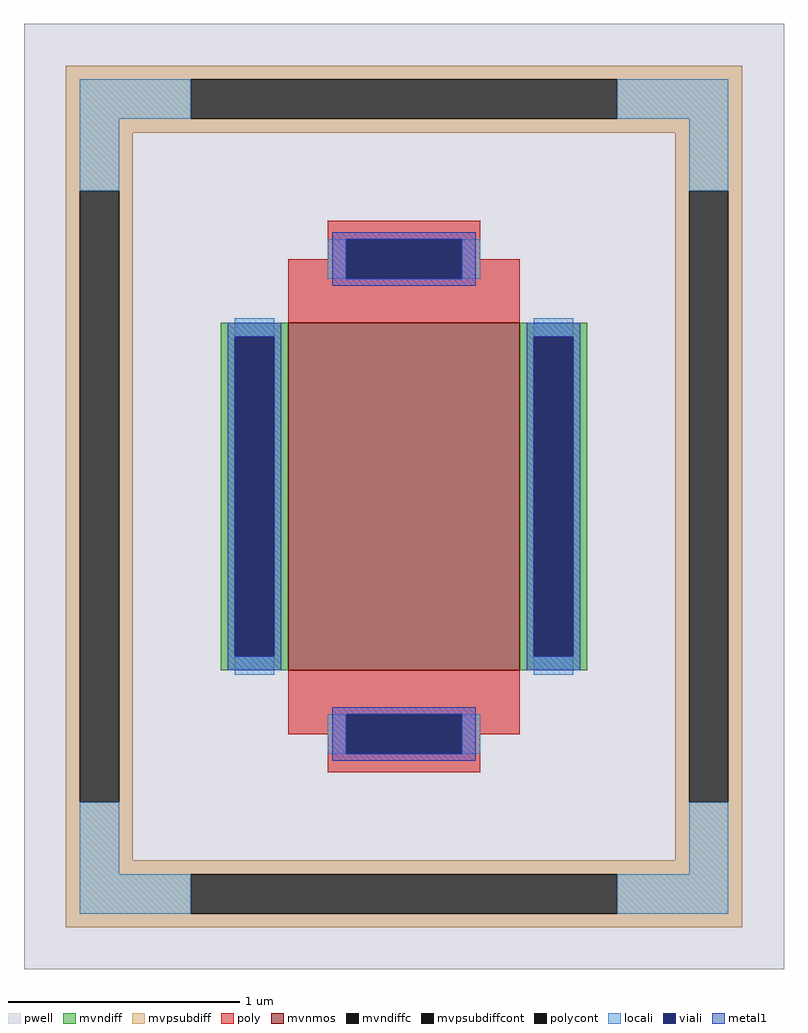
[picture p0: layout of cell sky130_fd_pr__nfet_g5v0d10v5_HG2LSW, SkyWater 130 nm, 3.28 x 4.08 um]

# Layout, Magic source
magic
tech sky130A
magscale 1 2
<< pwell >>
rect -328 -408 328 408
<< mvnmos >>
rect -100 -150 100 150
<< mvndiff >>
rect -158 138 -100 150
rect -158 -138 -146 138
rect -112 -138 -100 138
rect -158 -150 -100 -138
rect 100 138 158 150
rect 100 -138 112 138
rect 146 -138 158 138
rect 100 -150 158 -138
<< mvndiffc >>
rect -146 -138 -112 138
rect 112 -138 146 138
<< mvpsubdiff >>
rect -292 360 292 372
rect -292 326 -184 360
rect 184 326 292 360
rect -292 314 292 326
rect -292 264 -234 314
rect -292 -264 -280 264
rect -246 -264 -234 264
rect 234 264 292 314
rect -292 -314 -234 -264
rect 234 -264 246 264
rect 280 -264 292 264
rect 234 -314 292 -264
rect -292 -326 292 -314
rect -292 -360 -184 -326
rect 184 -360 292 -326
rect -292 -372 292 -360
<< mvpsubdiffcont >>
rect -184 326 184 360
rect -280 -264 -246 264
rect 246 -264 280 264
rect -184 -360 184 -326
<< poly >>
rect -66 222 66 238
rect -66 205 -50 222
rect -100 188 -50 205
rect 50 205 66 222
rect 50 188 100 205
rect -100 150 100 188
rect -100 -188 100 -150
rect -100 -205 -50 -188
rect -66 -222 -50 -205
rect 50 -205 100 -188
rect 50 -222 66 -205
rect -66 -238 66 -222
<< polycont >>
rect -50 188 50 222
rect -50 -222 50 -188
<< locali >>
rect -280 326 -184 360
rect 184 326 280 360
rect -280 264 -246 326
rect 246 264 280 326
rect -66 188 -50 222
rect 50 188 66 222
rect -146 138 -112 154
rect -146 -154 -112 -138
rect 112 138 146 154
rect 112 -154 146 -138
rect -66 -222 -50 -188
rect 50 -222 66 -188
rect -280 -326 -246 -264
rect 246 -326 280 -264
rect -280 -360 -184 -326
rect 184 -360 280 -326
<< viali >>
rect -50 188 50 222
rect -146 -138 -112 138
rect 112 -138 146 138
rect -50 -222 50 -188
<< metal1 >>
rect -62 222 62 228
rect -62 188 -50 222
rect 50 188 62 222
rect -62 182 62 188
rect -152 138 -106 150
rect -152 -138 -146 138
rect -112 -138 -106 138
rect -152 -150 -106 -138
rect 106 138 152 150
rect 106 -138 112 138
rect 146 -138 152 138
rect 106 -150 152 -138
rect -62 -188 62 -182
rect -62 -222 -50 -188
rect 50 -222 62 -188
rect -62 -228 62 -222
<< properties >>
string FIXED_BBOX -263 -343 263 343
string gencell sky130_fd_pr__nfet_g5v0d10v5
string library sky130
string parameters w 1.5 l 1 m 1 nf 1 diffcov 100 polycov 60 guard 1 glc 1 grc 1 gtc 1 gbc 1 tbcov 100 rlcov 100 topc 1 botc 1 poverlap 0 doverlap 1 lmin 0.50 wmin 0.42 compatible {sky130_fd_pr__nfet_01v8 sky130_fd_pr__nfet_01v8_lvt  sky130_fd_bs_flash__special_sonosfet_star  sky130_fd_pr__nfet_g5v0d10v5 sky130_fd_pr__nfet_05v0_nvt  sky130_fd_pr__nfet_03v3_nvt} full_metal 1 viasrc 100 viadrn 100 viagate 60 viagb 0 viagr 0 viagl 0 viagt 0
<< end >>
